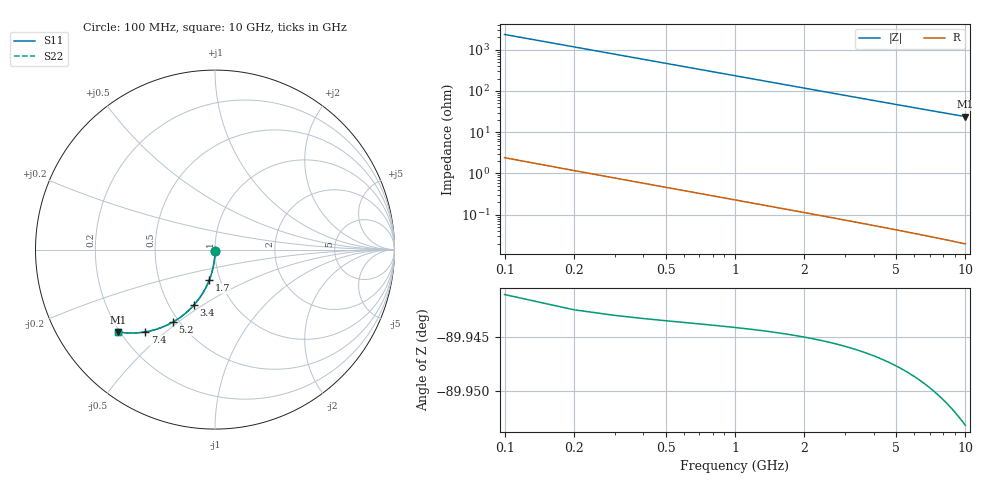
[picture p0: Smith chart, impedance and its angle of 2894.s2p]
# Hz S RI R 50.00
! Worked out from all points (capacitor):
!   100 points, 100 MHz to 10 GHz, reference 50 ohm
!   read as one part in shunt: C = 678 fF near 100 MHz
!   lowest |Z| = 24 ohm at 10 GHz (marker M1)
!   S11 on the Smith chart (normalised r, x): 100 MHz: 1.00, -0.02; 1.7 GHz: 0.89, -0.31; 3.4 GHz: 0.66, -0.46; 5.2 GHz: 0.46, -0.48; 7.4 GHz: 0.30, -0.43; 10 GHz: 0.19, -0.36
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1e8  3.96e-05 -0.0103  0.9997 -0.011  0.9997 -0.011  3.96e-05 -0.0103
2e8  -0.00031 -0.0205  0.9994 -0.0221  0.9994 -0.0221  -0.00031 -0.0205
3e8  -0.000885 -0.0308  0.9988 -0.0331  0.9988 -0.0331  -0.000885 -0.0308
4e8  -0.00169 -0.041  0.998 -0.0441  0.998 -0.0441  -0.00169 -0.041
5e8  -0.00271 -0.0512  0.9969 -0.055  0.9969 -0.055  -0.00271 -0.0512
6e8  -0.00396 -0.0614  0.9957 -0.0659  0.9957 -0.0659  -0.00396 -0.0614
8e8  -0.00712 -0.0816  0.9925 -0.0877  0.9925 -0.0877  -0.00712 -0.0816
1.1e9  -0.0135 -0.1114  0.9861 -0.1198  0.9861 -0.1198  -0.0135 -0.1114
1.4e9  -0.0217 -0.1406  0.9779 -0.1513  0.9779 -0.1513  -0.0217 -0.1406
1.7e9  -0.0318 -0.1689  0.9678 -0.1819  0.9678 -0.1819  -0.0318 -0.1689
1.8e9  -0.0355 -0.1782  0.9641 -0.1919  0.9641 -0.1919  -0.0355 -0.1782
2.1e9  -0.0477 -0.2052  0.9518 -0.2212  0.9518 -0.2212  -0.0477 -0.2052
2.5e9  -0.0664 -0.2394  0.9331 -0.2585  0.9331 -0.2585  -0.0664 -0.2394
2.9e9  -0.0874 -0.2713  0.912 -0.2935  0.912 -0.2935  -0.0874 -0.2713
3.4e9  -0.1165 -0.3077  0.8828 -0.3337  0.8828 -0.3337  -0.1165 -0.3077
4.2e9  -0.1678 -0.3575  0.8313 -0.3897  0.8313 -0.3897  -0.1678 -0.3575
5.1e9  -0.2297 -0.4009  0.7692 -0.4401  0.7692 -0.4401  -0.2297 -0.4009
5.2e9  -0.2367 -0.4049  0.7621 -0.4449  0.7621 -0.4449  -0.2367 -0.4049
6.7e9  -0.3411 -0.448  0.6571 -0.4997  0.6571 -0.4997  -0.3411 -0.448
7.4e9  -0.3878 -0.4583  0.6101 -0.5156  0.6101 -0.5156  -0.3878 -0.4583
8.4e9  -0.4506 -0.4645  0.5469 -0.5298  0.5469 -0.5298  -0.4506 -0.4645
1e10  -0.5396 -0.4587  0.457 -0.5368  0.457 -0.5368  -0.5396 -0.4587
